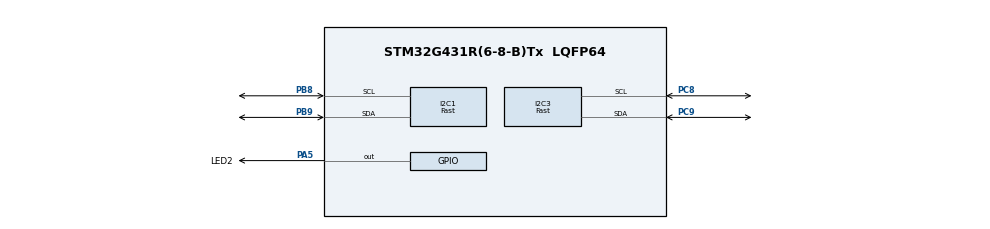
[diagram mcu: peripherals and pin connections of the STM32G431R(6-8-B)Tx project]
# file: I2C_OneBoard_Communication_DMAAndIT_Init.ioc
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Dma.I2C3_TX.0.Direction=DMA_MEMORY_TO_PERIPH
Dma.I2C3_TX.0.EventEnable=DISABLE
Dma.I2C3_TX.0.Instance=DMA1_Channel2
Dma.I2C3_TX.0.MemDataAlignment=DMA_MDATAALIGN_BYTE
Dma.I2C3_TX.0.MemInc=DMA_MINC_ENABLE
Dma.I2C3_TX.0.Mode=DMA_NORMAL
Dma.I2C3_TX.0.PeriphDataAlignment=DMA_PDATAALIGN_BYTE
Dma.I2C3_TX.0.PeriphInc=DMA_PINC_DISABLE
Dma.I2C3_TX.0.Polarity=HAL_DMAMUX_REQ_GEN_RISING
Dma.I2C3_TX.0.Priority=DMA_PRIORITY_HIGH
Dma.I2C3_TX.0.RequestNumber=1
Dma.I2C3_TX.0.SignalID=HAL_DMAMUX1_REQ_GEN_EXTI4
Dma.I2C3_TX.0.SyncEnable=DISABLE
Dma.I2C3_TX.0.SyncPolarity=HAL_DMAMUX_SYNC_NO_EVENT
Dma.I2C3_TX.0.SyncRequestNumber=1
Dma.I2C3_TX.0.SyncSignalID=HAL_DMAMUX1_SYNC_EXTI4
Dma.Request0=I2C3_TX
I2C1.AddressingMode=I2C_ADDRESSINGMODE_7BIT
I2C1.Analog_Filter=I2C_ANALOGFILTER_ENABLE
I2C1.CustomTiming=Disabled
I2C1.DualAddressMode=I2C_DUALADDRESS_DISABLE
I2C1.GeneralCallMode=I2C_GENERALCALL_DISABLE
I2C1.I2C_Coeff_DF=0x0
I2C1.I2C_Fall_Time=10
I2C1.I2C_Rise_Time=100
I2C1.I2C_Speed_Mode=I2C_Fast
I2C1.NoStretchMode=I2C_NOSTRETCH_DISABLE
I2C1.OwnAddress=0x5a
I2C1.Speed=400
I2C3.AddressingMode=I2C_ADDRESSINGMODE_7BIT
I2C3.Analog_Filter=I2C_ANALOGFILTER_ENABLE
I2C3.CustomTiming=Disabled
I2C3.DualAddressMode=I2C_DUALADDRESS_DISABLE
I2C3.GeneralCallMode=I2C_GENERALCALL_DISABLE
I2C3.I2C_Coeff_DF=0
I2C3.I2C_Fall_Time=10
I2C3.I2C_Rise_Time=100
I2C3.I2C_Speed_Mode=I2C_Fast
I2C3.NoStretchMode=I2C_NOSTRETCH_DISABLE
I2C3.OwnAddress=0
I2C3.Speed=400
Mcu.Family=STM32G4
Mcu.Name=STM32G431R(6-8-B)Tx
Mcu.Package=LQFP64
NVIC.DMA1_Channel2_IRQn=true\:0\:0\:false\:false\:true\:false\:true\:true
NVIC.PriorityGroup=NVIC_PRIORITYGROUP_4
PA5.GPIO_Label=LED2
PA5.Signal=GPIO_Output
PB8-BOOT0.GPIO_Pu=GPIO_PULLUP
PB8-BOOT0.GPIO_Speed=GPIO_SPEED_FREQ_HIGH
PB8-BOOT0.Mode=I2C
PB8-BOOT0.Signal=I2C1_SCL
PB9.GPIO_Pu=GPIO_PULLUP
PB9.GPIO_Speed=GPIO_SPEED_FREQ_HIGH
PB9.Mode=I2C
PB9.Signal=I2C1_SDA
PC8.GPIO_Pu=GPIO_PULLUP
PC8.GPIO_Speed=GPIO_SPEED_FREQ_HIGH
PC8.Mode=I2C
PC8.Signal=I2C3_SCL
PC9.GPIO_Pu=GPIO_PULLUP
PC9.GPIO_Speed=GPIO_SPEED_FREQ_HIGH
PC9.Mode=I2C
PC9.Signal=I2C3_SDA
ProjectManager.HeapSize=0x200
ProjectManager.StackSize=0x400
ProjectManager.TargetToolchain=EWARM V8.32
RCC.ADC12Freq_Value=170000000
RCC.AHBFreq_Value=170000000
RCC.APB1Freq_Value=170000000
RCC.APB1TimFreq_Value=170000000
RCC.APB2Freq_Value=170000000
RCC.APB2TimFreq_Value=170000000
RCC.CortexFreq_Value=170000000
RCC.EXTERNAL_CLOCK_VALUE=12288000
RCC.HCLKFreq_Value=170000000
RCC.HSE_VALUE=24000000
RCC.HSI48_VALUE=48000000
RCC.HSI_VALUE=16000000
RCC.LSE_VALUE=32768
RCC.PLLM=RCC_PLLM_DIV4
RCC.PLLN=85
RCC.SYSCLKFreq_VALUE=170000000
RCC.SYSCLKSource=RCC_SYSCLKSOURCE_PLLCLK
RCC.USBFreq_Value=170000000
RCC.VCOOutputFreq_Value=340000000
VP_SYS_VS_DBSignals.Mode=DisableDeadBatterySignals
board=custom

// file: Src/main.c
/* USER CODE BEGIN Header */
/**
  ******************************************************************************
  * @file    Examples_LL/I2C/I2C_OneBoard_Communication_DMAAndIT_Init/Src/main.c
  * @author  MCD Application Team
  * @brief   This example describes how to send/receive bytes over I2C IP using
  *          the STM32G4xx I2C LL API.
  *          Peripheral initialization done using LL unitary services functions.
  ******************************************************************************
  * @attention
  *
  * <h2><center>&copy; Copyright (c) 2019 STMicroelectronics.
  * All rights reserved.</center></h2>
  *
  * This software component is licensed by ST under BSD 3-Clause license,
  * the "License"; You may not use this file except in compliance with the
  * License. You may obtain a copy of the License at:
  *                        opensource.org/licenses/BSD-3-Clause
  *
  ******************************************************************************
  */
/* USER CODE END Header */

#include "main.h"

/* USER CODE BEGIN PD */
/**
  * @brief Timeout value
  */
#if (USE_TIMEOUT == 1)
#define DMA_SEND_TIMEOUT_TC_MS         5
#define I2C_SEND_TIMEOUT_STOP_MS       5
#endif /* USE_TIMEOUT */

/**
  * @brief I2C devices settings
  */
/* Timing register value is computed with the STM32CubeMX Tool,
  * Fast Mode @400kHz with I2CCLK = 170 MHz,
  * rise time = 100ns, fall time = 10ns
  * Timing Value = (uint32_t)0x00C0216C
  */
#define I2C_TIMING                     0x00C0216C

/* USER CODE END PD */

/* USER CODE BEGIN PV */
#if (USE_TIMEOUT == 1)
uint32_t Timeout                       = 0; /* Variable used for Timeout management */
#endif /* USE_TIMEOUT */
__IO uint8_t ubButtonPress             = 0;

/**
  * @brief Variables related to MasterTransmit process
  */
const uint8_t aLedOn[]                 = "LED ON";
__IO uint8_t  ubNbDataToTransmit       = sizeof(aLedOn);
uint8_t      *pTransmitBuffer          = (uint8_t *)aLedOn;
__IO uint8_t  ubTransferComplete       = 0;

/**
  * @brief Variables related to SlaveReceive process
  */
uint8_t      aReceiveBuffer[0xF]       = {0};
__IO uint8_t ubReceiveIndex            = 0;

/* USER CODE END PV */

void SystemClock_Config(void);
static void MX_GPIO_Init(void);
static void MX_DMA_Init(void);
static void MX_I2C1_Init(void);
static void MX_I2C3_Init(void);
/* USER CODE BEGIN PFP */
void     SystemClock_Config(void);
uint8_t  Buffercmp8(uint8_t *pBuffer1, uint8_t *pBuffer2, uint8_t BufferLength);
void     UserButton_Init(void);
void     LED_On(void);
void     LED_Off(void);
void     LED_Blinking(uint32_t Period);
void     WaitForUserButtonPress(void);
void     Handle_I2C_Master(void);

/* USER CODE END PFP */

int main(void)
{

  /* MCU Configuration--------------------------------------------------------*/

  /* Reset of all peripherals, Initializes the Flash interface and the Systick. */

  LL_APB2_GRP1_EnableClock(LL_APB2_GRP1_PERIPH_SYSCFG);
  LL_APB1_GRP1_EnableClock(LL_APB1_GRP1_PERIPH_PWR);

  NVIC_SetPriorityGrouping(NVIC_PRIORITYGROUP_4);

  /* System interrupt init*/

  /** Disable the internal Pull-Up in Dead Battery pins of UCPD peripheral
  */
  LL_PWR_DisableDeadBatteryPD();

  /* Configure the system clock */
  SystemClock_Config();

  /* Initialize all configured peripherals */
  MX_GPIO_Init();
  MX_DMA_Init();
  MX_I2C1_Init();
  MX_I2C3_Init();
  /* USER CODE BEGIN 2 */
  UserButton_Init();
  /* Set LED2 Off */
  LED_Off();;

  /* Wait for User push-button press to start transfer */
  WaitForUserButtonPress();

  /* Handle I2C3 events (Master) */
  Handle_I2C_Master();
  /* USER CODE END 2 */

  /* Infinite loop */
  while (1)
  {

  }
}

void SystemClock_Config(void)
{
  LL_FLASH_SetLatency(LL_FLASH_LATENCY_8);
  LL_PWR_EnableRange1BoostMode();
  LL_RCC_HSI_Enable();

   /* Wait till HSI is ready */
  while(LL_RCC_HSI_IsReady() != 1)
  {

  }
  LL_RCC_HSI_SetCalibTrimming(64);
  LL_RCC_PLL_ConfigDomain_SYS(LL_RCC_PLLSOURCE_HSI, LL_RCC_PLLM_DIV_4, 85, LL_RCC_PLLR_DIV_2);
  LL_RCC_PLL_EnableDomain_SYS();
  LL_RCC_PLL_Enable();

   /* Wait till PLL is ready */
  while(LL_RCC_PLL_IsReady() != 1)
  {

  }
  LL_RCC_SetSysClkSource(LL_RCC_SYS_CLKSOURCE_PLL);
  LL_RCC_SetAHBPrescaler(LL_RCC_SYSCLK_DIV_2);

   /* Wait till System clock is ready */
  while(LL_RCC_GetSysClkSource() != LL_RCC_SYS_CLKSOURCE_STATUS_PLL)
  {

  }
  /* Insure 1µs transition state at intermediate medium speed clock based on DWT */
  CoreDebug->DEMCR |= CoreDebug_DEMCR_TRCENA_Msk;
  DWT->CTRL |= DWT_CTRL_CYCCNTENA_Msk;
  DWT->CYCCNT = 0;
  while(DWT->CYCCNT < 100);
  /* Set AHB prescaler*/
  LL_RCC_SetAHBPrescaler(LL_RCC_SYSCLK_DIV_1);
  LL_RCC_SetAPB1Prescaler(LL_RCC_APB1_DIV_1);
  LL_RCC_SetAPB2Prescaler(LL_RCC_APB1_DIV_1);

  LL_Init1msTick(170000000);

  LL_SetSystemCoreClock(170000000);
  LL_RCC_SetI2CClockSource(LL_RCC_I2C1_CLKSOURCE_PCLK1);
  LL_RCC_SetI2CClockSource(LL_RCC_I2C3_CLKSOURCE_PCLK1);
}

static void MX_I2C1_Init(void)
{

  LL_I2C_InitTypeDef I2C_InitStruct = {0};

  LL_GPIO_InitTypeDef GPIO_InitStruct = {0};

  LL_AHB2_GRP1_EnableClock(LL_AHB2_GRP1_PERIPH_GPIOB);
  /**I2C1 GPIO Configuration
  PB8-BOOT0   ------> I2C1_SCL
  PB9   ------> I2C1_SDA
  */
  GPIO_InitStruct.Pin = LL_GPIO_PIN_8;
  GPIO_InitStruct.Mode = LL_GPIO_MODE_ALTERNATE;
  GPIO_InitStruct.Speed = LL_GPIO_SPEED_FREQ_HIGH;
  GPIO_InitStruct.OutputType = LL_GPIO_OUTPUT_OPENDRAIN;
  GPIO_InitStruct.Pull = LL_GPIO_PULL_UP;
  GPIO_InitStruct.Alternate = LL_GPIO_AF_4;
  LL_GPIO_Init(GPIOB, &GPIO_InitStruct);

  GPIO_InitStruct.Pin = LL_GPIO_PIN_9;
  GPIO_InitStruct.Mode = LL_GPIO_MODE_ALTERNATE;
  GPIO_InitStruct.Speed = LL_GPIO_SPEED_FREQ_HIGH;
  GPIO_InitStruct.OutputType = LL_GPIO_OUTPUT_OPENDRAIN;
  GPIO_InitStruct.Pull = LL_GPIO_PULL_UP;
  GPIO_InitStruct.Alternate = LL_GPIO_AF_4;
  LL_GPIO_Init(GPIOB, &GPIO_InitStruct);

  /* Peripheral clock enable */
  LL_APB1_GRP1_EnableClock(LL_APB1_GRP1_PERIPH_I2C1);

  /* USER CODE BEGIN I2C1_Init 1 */
  NVIC_SetPriority(I2C1_EV_IRQn, 0);
  NVIC_EnableIRQ(I2C1_EV_IRQn);
  NVIC_SetPriority(I2C1_ER_IRQn, 0);
  NVIC_EnableIRQ(I2C1_ER_IRQn);
  /* USER CODE END I2C1_Init 1 */
  /** I2C Initialization
  */
  I2C_InitStruct.PeripheralMode = LL_I2C_MODE_I2C;
  I2C_InitStruct.Timing = 0x00303D5B;
  I2C_InitStruct.AnalogFilter = LL_I2C_ANALOGFILTER_ENABLE;
  I2C_InitStruct.DigitalFilter = 0x0;
  I2C_InitStruct.OwnAddress1 = 180;
  I2C_InitStruct.TypeAcknowledge = LL_I2C_ACK;
  I2C_InitStruct.OwnAddrSize = LL_I2C_OWNADDRESS1_7BIT;
  LL_I2C_Init(I2C1, &I2C_InitStruct);
  LL_I2C_EnableAutoEndMode(I2C1);
  LL_I2C_SetOwnAddress2(I2C1, 0, LL_I2C_OWNADDRESS2_NOMASK);
  LL_I2C_DisableOwnAddress2(I2C1);
  LL_I2C_DisableGeneralCall(I2C1);
  LL_I2C_EnableClockStretching(I2C1);
  /* USER CODE BEGIN I2C1_Init 2 */
  LL_I2C_EnableIT_ADDR(I2C1);
  LL_I2C_EnableIT_NACK(I2C1);
  LL_I2C_EnableIT_ERR(I2C1);
  LL_I2C_EnableIT_STOP(I2C1);
  /* USER CODE END I2C1_Init 2 */

}

static void MX_I2C3_Init(void)
{

  LL_I2C_InitTypeDef I2C_InitStruct = {0};

  LL_GPIO_InitTypeDef GPIO_InitStruct = {0};

  LL_AHB2_GRP1_EnableClock(LL_AHB2_GRP1_PERIPH_GPIOC);
  /**I2C3 GPIO Configuration
  PC8   ------> I2C3_SCL
  PC9   ------> I2C3_SDA
  */
  GPIO_InitStruct.Pin = LL_GPIO_PIN_8;
  GPIO_InitStruct.Mode = LL_GPIO_MODE_ALTERNATE;
  GPIO_InitStruct.Speed = LL_GPIO_SPEED_FREQ_HIGH;
  GPIO_InitStruct.OutputType = LL_GPIO_OUTPUT_OPENDRAIN;
  GPIO_InitStruct.Pull = LL_GPIO_PULL_UP;
  GPIO_InitStruct.Alternate = LL_GPIO_AF_8;
  LL_GPIO_Init(GPIOC, &GPIO_InitStruct);

  GPIO_InitStruct.Pin = LL_GPIO_PIN_9;
  GPIO_InitStruct.Mode = LL_GPIO_MODE_ALTERNATE;
  GPIO_InitStruct.Speed = LL_GPIO_SPEED_FREQ_HIGH;
  GPIO_InitStruct.OutputType = LL_GPIO_OUTPUT_OPENDRAIN;
  GPIO_InitStruct.Pull = LL_GPIO_PULL_UP;
  GPIO_InitStruct.Alternate = LL_GPIO_AF_8;
  LL_GPIO_Init(GPIOC, &GPIO_InitStruct);

  /* Peripheral clock enable */
  LL_APB1_GRP1_EnableClock(LL_APB1_GRP1_PERIPH_I2C3);

  /* I2C3 DMA Init */

  /* I2C3_TX Init */
  LL_DMA_SetPeriphRequest(DMA1, LL_DMA_CHANNEL_2, LL_DMAMUX_REQ_I2C3_TX);

  LL_DMA_SetDataTransferDirection(DMA1, LL_DMA_CHANNEL_2, LL_DMA_DIRECTION_MEMORY_TO_PERIPH);

  LL_DMA_SetChannelPriorityLevel(DMA1, LL_DMA_CHANNEL_2, LL_DMA_PRIORITY_HIGH);

  LL_DMA_SetMode(DMA1, LL_DMA_CHANNEL_2, LL_DMA_MODE_NORMAL);

  LL_DMA_SetPeriphIncMode(DMA1, LL_DMA_CHANNEL_2, LL_DMA_PERIPH_NOINCREMENT);

  LL_DMA_SetMemoryIncMode(DMA1, LL_DMA_CHANNEL_2, LL_DMA_MEMORY_INCREMENT);

  LL_DMA_SetPeriphSize(DMA1, LL_DMA_CHANNEL_2, LL_DMA_PDATAALIGN_BYTE);

  LL_DMA_SetMemorySize(DMA1, LL_DMA_CHANNEL_2, LL_DMA_MDATAALIGN_BYTE);

  /* USER CODE BEGIN I2C3_Init 1 */
  LL_DMA_SetDataLength(DMA1, LL_DMA_CHANNEL_2, ubNbDataToTransmit);
  LL_DMA_ConfigAddresses(DMA1, LL_DMA_CHANNEL_2, (uint32_t)pTransmitBuffer, (uint32_t)LL_I2C_DMA_GetRegAddr(I2C3, LL_I2C_DMA_REG_DATA_TRANSMIT), LL_DMA_GetDataTransferDirection(DMA1, LL_DMA_CHANNEL_2));
  /* (4) Enable DMA1 interrupts complete/error */
  LL_DMA_EnableIT_TC(DMA1, LL_DMA_CHANNEL_2);
  LL_DMA_EnableIT_TE(DMA1, LL_DMA_CHANNEL_2);
  /* USER CODE END I2C3_Init 1 */
  /** I2C Initialization
  */
  I2C_InitStruct.PeripheralMode = LL_I2C_MODE_I2C;
  I2C_InitStruct.Timing = 0x00303D5B;
  I2C_InitStruct.AnalogFilter = LL_I2C_ANALOGFILTER_ENABLE;
  I2C_InitStruct.DigitalFilter = 0;
  I2C_InitStruct.OwnAddress1 = 0;
  I2C_InitStruct.TypeAcknowledge = LL_I2C_ACK;
  I2C_InitStruct.OwnAddrSize = LL_I2C_OWNADDRESS1_7BIT;
  LL_I2C_Init(I2C3, &I2C_InitStruct);
  LL_I2C_EnableAutoEndMode(I2C3);
  LL_I2C_SetOwnAddress2(I2C3, 0, LL_I2C_OWNADDRESS2_NOMASK);
  LL_I2C_DisableOwnAddress2(I2C3);
  LL_I2C_DisableGeneralCall(I2C3);
  LL_I2C_EnableClockStretching(I2C3);
  /* USER CODE BEGIN I2C3_Init 2 */
  LL_I2C_EnableDMAReq_TX(I2C3);
  LL_I2C_Enable(I2C3);
  /* USER CODE END I2C3_Init 2 */

}

static void MX_DMA_Init(void)
{

  /* Init with LL driver */
  /* DMA controller clock enable */
  LL_AHB1_GRP1_EnableClock(LL_AHB1_GRP1_PERIPH_DMAMUX1);
  LL_AHB1_GRP1_EnableClock(LL_AHB1_GRP1_PERIPH_DMA1);

  /* DMA interrupt init */
  /* DMA1_Channel2_IRQn interrupt configuration */
  NVIC_SetPriority(DMA1_Channel2_IRQn, NVIC_EncodePriority(NVIC_GetPriorityGrouping(),0, 0));
  NVIC_EnableIRQ(DMA1_Channel2_IRQn);

}

static void MX_GPIO_Init(void)
{
  LL_GPIO_InitTypeDef GPIO_InitStruct = {0};

  /* GPIO Ports Clock Enable */
  LL_AHB2_GRP1_EnableClock(LL_AHB2_GRP1_PERIPH_GPIOA);
  LL_AHB2_GRP1_EnableClock(LL_AHB2_GRP1_PERIPH_GPIOC);
  LL_AHB2_GRP1_EnableClock(LL_AHB2_GRP1_PERIPH_GPIOB);

  /**/
  LL_GPIO_ResetOutputPin(LED2_GPIO_Port, LED2_Pin);

  /**/
  GPIO_InitStruct.Pin = LED2_Pin;
  GPIO_InitStruct.Mode = LL_GPIO_MODE_OUTPUT;
  GPIO_InitStruct.Speed = LL_GPIO_SPEED_FREQ_LOW;
  GPIO_InitStruct.OutputType = LL_GPIO_OUTPUT_PUSHPULL;
  GPIO_InitStruct.Pull = LL_GPIO_PULL_NO;
  LL_GPIO_Init(LED2_GPIO_Port, &GPIO_InitStruct);

}

/* USER CODE BEGIN 4 */
/**
  * @brief  Compares two 8-bit buffers and returns the comparison result.
  * @param  pBuffer1: pointer to the source buffer to be compared to.
  * @param  pBuffer2: pointer to the second source buffer to be compared to the first.
  * @param  BufferLength: buffer's length.
  * @retval 0: Comparison is OK (the two Buffers are identical)
  *         Value different from 0: Comparison is NOK (Buffers are different)
  */
uint8_t Buffercmp8(uint8_t *pBuffer1, uint8_t *pBuffer2, uint8_t BufferLength)
{
  while (BufferLength--)
  {
    if (*pBuffer1 != *pBuffer2)
    {
      return 1;
    }

    pBuffer1++;
    pBuffer2++;
  }

  return 0;
}

/**
  * @brief  Turn-on LED2.
  * @param  None
  * @retval None
  */
void LED_On(void)
{
  /* Turn LED2 on */
  LL_GPIO_SetOutputPin(LED2_GPIO_Port, LED2_Pin);
}

/**
  * @brief  Turn-off LED2.
  * @param  None
  * @retval None
  */
void LED_Off(void)
{
  /* Turn LED2 off */
  LL_GPIO_ResetOutputPin(LED2_GPIO_Port, LED2_Pin);
}

/**
  * @brief  Set LED2 to Blinking mode for an infinite loop (toggle period based on value provided as input parameter).
  * @param  Period : Period of time (in ms) between each toggling of LED
  *   This parameter can be user defined values. Pre-defined values used in that example are :
  *     @arg LED_BLINK_FAST : Fast Blinking
  *     @arg LED_BLINK_SLOW : Slow Blinking
  *     @arg LED_BLINK_ERROR : Error specific Blinking
  * @retval None
  */
void LED_Blinking(uint32_t Period)
{
  /* Turn LED2 on */
  LL_GPIO_SetOutputPin(LED2_GPIO_Port, LED2_Pin);

  /* Toggle IO in an infinite loop */
  while (1)
  {
    LL_GPIO_TogglePin(LED2_GPIO_Port, LED2_Pin);
    LL_mDelay(Period);
  }
}
/**
  * @brief  Configures User push-button in GPIO or EXTI Line Mode.
  * @param  None
  * @retval None
  */
void UserButton_Init(void)
{
  /* Enable the BUTTON Clock */
  USER_BUTTON_GPIO_CLK_ENABLE();

  /* Configure GPIO for BUTTON */
  LL_GPIO_SetPinMode(USER_BUTTON_GPIO_PORT, USER_BUTTON_PIN, LL_GPIO_MODE_INPUT);
  LL_GPIO_SetPinPull(USER_BUTTON_GPIO_PORT, USER_BUTTON_PIN, LL_GPIO_PULL_NO);

  /* Connect External Line to the GPIO*/
  USER_BUTTON_SYSCFG_SET_EXTI();

  /* Enable a rising trigger External line 13 Interrupt */
  USER_BUTTON_EXTI_LINE_ENABLE();
  USER_BUTTON_EXTI_FALLING_TRIG_ENABLE();

  /* Configure NVIC for USER_BUTTON_EXTI_IRQn */
  NVIC_SetPriority(USER_BUTTON_EXTI_IRQn, 3);
  NVIC_EnableIRQ(USER_BUTTON_EXTI_IRQn);
}
/**
  * @brief  Wait for User push-button press to start transfer.
  * @param  None
  * @retval None
  */
/*  */
void WaitForUserButtonPress(void)
{
  while (ubButtonPress == 0)
  {
    LL_GPIO_TogglePin(LED2_GPIO_Port, LED2_Pin);
    LL_mDelay(LED_BLINK_FAST);
  }
  /* Turn LED2 off */
  LL_GPIO_ResetOutputPin(LED2_GPIO_Port, LED2_Pin);
}

/**
  * @brief  This Function handle Master events to perform a transmission process
  * @note  This function is composed in different steps :
  *        -1- Enable DMA transfer.
  *        -2- Initiate a Start condition to the Slave device.
  *        -3- Loop until end of DMA transfer completed (DMA TC raised).
  *        -4- Loop until end of master transfer completed (STOP flag raised).
  *        -5- Clear pending flags, Data consistency are checking into Slave process.
  * @param  None
  * @retval None
  */
void Handle_I2C_Master(void)
{
  /* (1) Enable DMA transfer **************************************************/
  LL_DMA_EnableChannel(DMA1, LL_DMA_CHANNEL_2);
  /* (2) Initiate a Start condition to the Slave device ***********************/

  /* Master Generate Start condition for a write request:
   *  - to the Slave with a 7-Bit SLAVE_OWN_ADDRESS
   *  - with a auto stop condition generation when transmit all bytes
   */
  LL_I2C_HandleTransfer(I2C3, SLAVE_OWN_ADDRESS, LL_I2C_ADDRSLAVE_7BIT, ubNbDataToTransmit, LL_I2C_MODE_AUTOEND, LL_I2C_GENERATE_START_WRITE);

  /* (3) Loop until end of transfer completed (DMA TC raised) *****************/

#if (USE_TIMEOUT == 1)
  Timeout = DMA_SEND_TIMEOUT_TC_MS;
#endif /* USE_TIMEOUT */

  /* Loop until DMA transfer complete event */
  while (!ubTransferComplete)
  {
#if (USE_TIMEOUT == 1)
    /* Check Systick counter flag to decrement the time-out value */
    if (LL_SYSTICK_IsActiveCounterFlag())
    {
      if (Timeout-- == 0)
      {
        /* Time-out occurred. Set LED to blinking mode */
        LED_Blinking(LED_BLINK_SLOW);
      }
    }
#endif /* USE_TIMEOUT */
  }

  /* (4) Loop until end of master transfer completed (STOP flag raised) *******/

#if (USE_TIMEOUT == 1)
  Timeout = I2C_SEND_TIMEOUT_STOP_MS;
#endif /* USE_TIMEOUT */

  /* Loop until STOP flag is raised  */
  while (!LL_I2C_IsActiveFlag_STOP(I2C3))
  {
#if (USE_TIMEOUT == 1)
    /* Check Systick counter flag to decrement the time-out value */
    if (LL_SYSTICK_IsActiveCounterFlag())
    {
      if (Timeout-- == 0)
      {
        /* Time-out occurred. Set LED2 to blinking mode */
        LED_Blinking(LED_BLINK_SLOW);
      }
    }
#endif /* USE_TIMEOUT */
  }

  /* (5) Clear pending flags, Data consistency are checking into Slave process */

  /* End of I2C_SlaveReceiver_MasterTransmitter_DMA Process */
  LL_I2C_ClearFlag_STOP(I2C3);
}

/******************************************************************************/
/*   IRQ HANDLER TREATMENT Functions                                          */
/******************************************************************************/
/**
  * @brief  Function to manage User push-button
  * @param  None
  * @retval None
  */
void UserButton_Callback(void)
{
  /* Update User push-button variable : to be checked in waiting loop in main program */
  ubButtonPress = 1;
}

/**
  * @brief  Function called from I2C IRQ Handler when RXNE flag is set
  *         Function is in charge of retrieving received byte on I2C lines.
  * @param  None
  * @retval None
  */
void Slave_Reception_Callback(void)
{
  /* Read character in Receive Data register.
  RXNE flag is cleared by reading data in RXDR register */
  aReceiveBuffer[ubReceiveIndex++] = LL_I2C_ReceiveData8(I2C1);
}

/**
  * @brief  Function called from I2C IRQ Handler when STOP flag is set
  *         Function is in charge of checking data received,
  *         LED2 is On if data are correct.
  * @param  None
  * @retval None
  */
void Slave_Complete_Callback(void)
{
  /* Check if datas request to turn on the LED2 */
  if (Buffercmp8((uint8_t *)aReceiveBuffer, (uint8_t *)aLedOn, (ubReceiveIndex - 1)) == 0)
  {
    /* Turn LED2 On:
     *  - Expected bytes have been received
     *  - Slave Rx sequence completed successfully
     */
    LED_On();
  }
  else
  {
    /* Call Error function */
    Error_Callback();
  }
}

/**
  * @brief  DMA transfer complete callback
  * @note   This function is executed when the transfer complete interrupt
  *         is generated
  * @retval None
  */
void Transfer_Complete_Callback()
{
  /* DMA transfer completed */
  ubTransferComplete = 1;
}

/**
  * @brief  DMA transfer error callback
  * @note   This function is executed when the transfer error interrupt
  *         is generated during DMA transfer
  * @retval None
  */
void Transfer_Error_Callback()
{
  /* Disable DMA1_Channel2_IRQn */
  NVIC_DisableIRQ(DMA1_Channel2_IRQn);

  /* Error detected during DMA transfer */
  LED_Blinking(LED_BLINK_ERROR);
}

/**
  * @brief  Function called in case of error detected in I2C IT Handler
  * @param  None
  * @retval None
  */
void Error_Callback(void)
{
  /* Disable I2C1_EV_IRQn */
  NVIC_DisableIRQ(I2C1_EV_IRQn);

  /* Disable I2C1_ER_IRQn */
  NVIC_DisableIRQ(I2C1_ER_IRQn);

  /* Unexpected event : Set LED2 to Blinking mode to indicate error occurs */
  LED_Blinking(LED_BLINK_ERROR);
}
/* USER CODE END 4 */

void Error_Handler(void)
{
}

/************************ (C) COPYRIGHT STMicroelectronics *****END OF FILE****/
